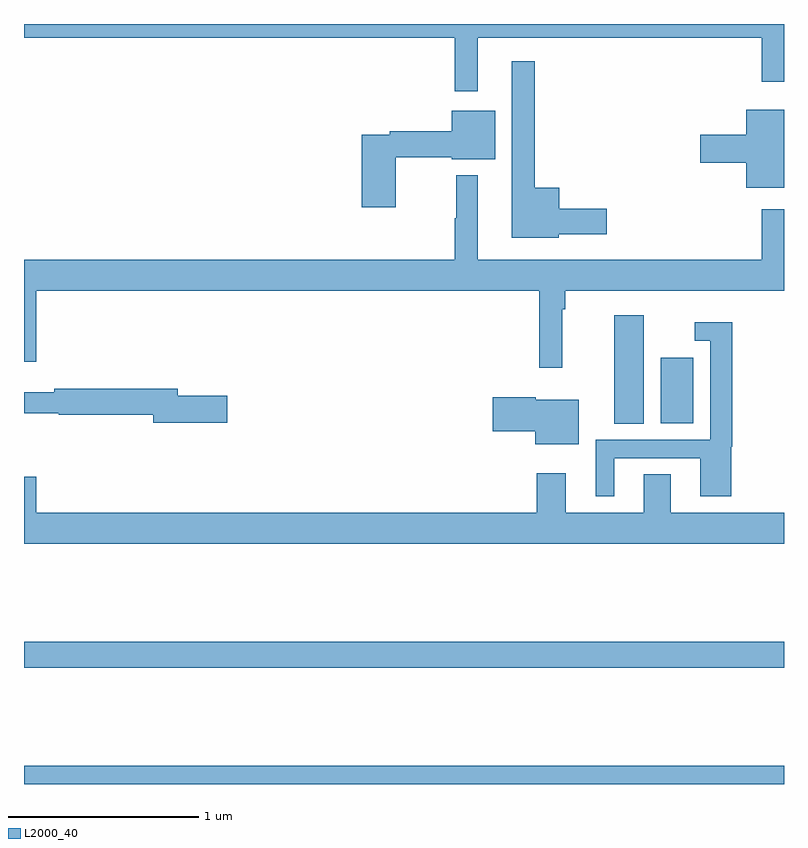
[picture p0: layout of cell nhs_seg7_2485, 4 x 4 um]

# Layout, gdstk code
import gdstk
lib = gdstk.Library(unit=1e-6, precision=1e-09)
def R(c, l, rs):  # rectangles x0, y0, x1, y1
    for r in rs: c.add(gdstk.rectangle(r[:2], r[2:], *l))
def P(c, l, *ps):  # polygons
    for p in ps: c.add(gdstk.Polygon(p, *l))
L2000_40 = (2000, 40)

nhs_seg7_2485 = lib.new_cell('nhs_seg7_2485')
R(nhs_seg7_2485, L2000_40, [(273,1018,277,1018.096), (273,1018.612,277,1018.748), (276.107,1019.896,276.262,1020.466), (276.35,1019.9,276.523,1020.244)])
P(nhs_seg7_2485, L2000_40, [(275.389,1021.928),(276.883,1021.928),(276.883,1021.695),(277,1021.695),(277,1022),(273,1022),(273,1021.928),(275.268,1021.928),(275.268,1021.647),(275.389,1021.647)],
  [(275.814,1020.893),(276.067,1020.893),(276.067,1021.028),(275.818,1021.028),(275.818,1021.138),(275.689,1021.138),(275.689,1021.804),(275.567,1021.804),(275.567,1020.875),(275.814,1020.875)],
  [(277,1021.549),(276.8,1021.549),(276.8,1021.418),(276.558,1021.418),(276.558,1021.271),(276.8,1021.271),(276.8,1021.139),(277,1021.139)],
  [(274.956,1021.3),(275.252,1021.3),(275.252,1021.289),(275.479,1021.289),(275.479,1021.543),(275.252,1021.543),(275.252,1021.436),(274.924,1021.436),(274.924,1021.416),(274.778,1021.416),(274.778,1021.035),(274.956,1021.035)],
  [(275.834,1020.5),(275.849,1020.5),(275.849,1020.596),(277,1020.596),(277,1021.024),(276.883,1021.024),(276.883,1020.76),(275.389,1020.76),(275.389,1021.204),(275.275,1021.204),(275.275,1020.977),(275.268,1020.977),(275.268,1020.76),(273,1020.76),(273,1020.222),(273.064,1020.222),(273.064,1020.596),(275.713,1020.596),(275.713,1020.192),(275.834,1020.192)],
  [(276.106,1019.715),(276.56,1019.715),(276.56,1019.514),(276.722,1019.514),(276.722,1019.775),(276.728,1019.775),(276.728,1020.43),(276.531,1020.43),(276.531,1020.333),(276.612,1020.333),(276.612,1019.811),(276.008,1019.811),(276.008,1019.514),(276.106,1019.514)],
  [(274.069,1020.044),(273.808,1020.044),(273.808,1020.08),(273.16,1020.08),(273.16,1020.061),(273,1020.061),(273,1019.952),(273.184,1019.952),(273.184,1019.944),(273.68,1019.944),(273.68,1019.902),(274.069,1019.902)],
  [(275.92,1020.022),(275.694,1020.022),(275.694,1020.035),(275.466,1020.035),(275.466,1019.857),(275.69,1019.857),(275.69,1019.789),(275.92,1019.789)],
  [(277,1019.428),(276.403,1019.428),(276.403,1019.63),(276.263,1019.63),(276.263,1019.428),(275.851,1019.428),(275.851,1019.635),(275.699,1019.635),(275.699,1019.428),(273.064,1019.428),(273.064,1019.617),(273,1019.617),(273,1019.264),(277,1019.264)])

lib.write_gds('nhs_seg7_2485.gds')
